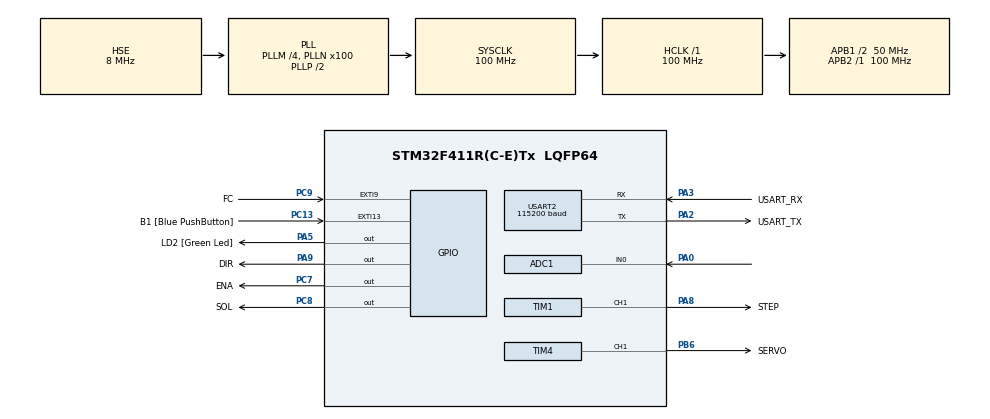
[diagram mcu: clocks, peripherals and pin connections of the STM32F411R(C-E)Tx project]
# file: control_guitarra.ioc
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ADC1.Channel-0\#ChannelRegularConversion=ADC_CHANNEL_0
ADC1.DMAContinuousRequests=ENABLE
ADC1.ExternalTrigConv=ADC_EXTERNALTRIGCONV_T3_TRGO
ADC1.NbrOfConversionFlag=1
ADC1.Rank-0\#ChannelRegularConversion=1
ADC1.SamplingTime-0\#ChannelRegularConversion=ADC_SAMPLETIME_3CYCLES
ADC1.master=1
Dma.ADC1.0.Direction=DMA_PERIPH_TO_MEMORY
Dma.ADC1.0.FIFOMode=DMA_FIFOMODE_DISABLE
Dma.ADC1.0.Instance=DMA2_Stream0
Dma.ADC1.0.MemDataAlignment=DMA_MDATAALIGN_HALFWORD
Dma.ADC1.0.MemInc=DMA_MINC_ENABLE
Dma.ADC1.0.Mode=DMA_CIRCULAR
Dma.ADC1.0.PeriphDataAlignment=DMA_PDATAALIGN_HALFWORD
Dma.ADC1.0.PeriphInc=DMA_PINC_DISABLE
Dma.ADC1.0.Priority=DMA_PRIORITY_LOW
Dma.Request0=ADC1
Dma.Request1=USART2_TX
Dma.USART2_TX.1.Direction=DMA_MEMORY_TO_PERIPH
Dma.USART2_TX.1.FIFOMode=DMA_FIFOMODE_DISABLE
Dma.USART2_TX.1.Instance=DMA1_Stream6
Dma.USART2_TX.1.MemDataAlignment=DMA_MDATAALIGN_BYTE
Dma.USART2_TX.1.MemInc=DMA_MINC_ENABLE
Dma.USART2_TX.1.Mode=DMA_NORMAL
Dma.USART2_TX.1.PeriphDataAlignment=DMA_PDATAALIGN_BYTE
Dma.USART2_TX.1.PeriphInc=DMA_PINC_DISABLE
Dma.USART2_TX.1.Priority=DMA_PRIORITY_LOW
Mcu.Family=STM32F4
Mcu.Name=STM32F411R(C-E)Tx
Mcu.Package=LQFP64
NVIC.ADC_IRQn=true\:0\:0\:false\:false\:true\:true\:true\:true
NVIC.DMA1_Stream6_IRQn=true\:0\:0\:false\:false\:true\:false\:true\:true
NVIC.DMA2_Stream0_IRQn=true\:0\:0\:false\:false\:true\:false\:true\:true
NVIC.EXTI15_10_IRQn=true\:0\:0\:false\:false\:true\:true\:true\:true
NVIC.EXTI9_5_IRQn=true\:0\:0\:false\:false\:true\:true\:true\:true
NVIC.PriorityGroup=NVIC_PRIORITYGROUP_0
NVIC.TIM1_BRK_TIM9_IRQn=true\:0\:0\:false\:false\:true\:true\:true\:true
NVIC.TIM1_UP_TIM10_IRQn=true\:0\:0\:false\:false\:true\:true\:true\:true
NVIC.TIM2_IRQn=true\:0\:0\:false\:false\:true\:true\:true\:true
NVIC.TIM5_IRQn=true\:0\:0\:false\:false\:true\:true\:true\:true
NVIC.USART2_IRQn=true\:0\:0\:false\:false\:true\:true\:true\:true
PA0-WKUP.Signal=ADCx_IN0
PA13.GPIO_Label=TMS
PA13.Mode=Serial_Wire
PA13.Signal=SYS_JTMS-SWDIO
PA14.GPIO_Label=TCK
PA14.Mode=Serial_Wire
PA14.Signal=SYS_JTCK-SWCLK
PA2.GPIO_Label=USART_TX
PA2.Mode=Asynchronous
PA2.Signal=USART2_TX
PA3.GPIO_Label=USART_RX
PA3.Mode=Asynchronous
PA3.Signal=USART2_RX
PA5.GPIO_Label=LD2 [Green Led]
PA5.Signal=GPIO_Output
PA8.GPIO_Label=STEP
PA8.Signal=S_TIM1_CH1
PA9.GPIO_Label=DIR
PA9.Signal=GPIO_Output
PB3.GPIO_Label=SWO
PB3.Signal=SYS_JTDO-SWO
PB6.GPIO_Label=SERVO
PB6.Signal=S_TIM4_CH1
PC13-ANTI_TAMP.GPIO_Label=B1 [Blue PushButton]
PC13-ANTI_TAMP.GPIO_ModeDefaultEXTI=GPIO_MODE_IT_FALLING
PC13-ANTI_TAMP.Signal=GPXTI13
PC14-OSC32_IN.Mode=LSE-External-Oscillator
PC14-OSC32_IN.Signal=RCC_OSC32_IN
PC15-OSC32_OUT.Mode=LSE-External-Oscillator
PC15-OSC32_OUT.Signal=RCC_OSC32_OUT
PC7.GPIO_Label=ENA
PC7.PinState=GPIO_PIN_SET
PC7.Signal=GPIO_Output
PC8.GPIO_Label=SOL
PC8.GPIO_ModeDefaultOutputPP=GPIO_MODE_OUTPUT_PP
PC8.GPIO_PuPd=GPIO_PULLDOWN
PC8.GPIO_Speed=GPIO_SPEED_FREQ_HIGH
PC8.PinState=GPIO_PIN_RESET
PC8.Signal=GPIO_Output
PC9.GPIO_Label=FC
PC9.GPIO_ModeDefaultEXTI=GPIO_MODE_IT_RISING_FALLING
PC9.GPIO_PuPd=GPIO_NOPULL
PC9.Signal=GPXTI9
PH0\ -\ OSC_IN.Mode=HSE-External-Oscillator
PH0\ -\ OSC_IN.Signal=RCC_OSC_IN
PH1\ -\ OSC_OUT.Mode=HSE-External-Oscillator
PH1\ -\ OSC_OUT.Signal=RCC_OSC_OUT
ProjectManager.HeapSize=0x200
ProjectManager.StackSize=0x400
ProjectManager.TargetToolchain=STM32CubeIDE
RCC.48MHZClocksFreq_Value=50000000
RCC.AHBFreq_Value=100000000
RCC.APB1CLKDivider=RCC_HCLK_DIV2
RCC.APB1Freq_Value=50000000
RCC.APB1TimFreq_Value=100000000
RCC.APB2Freq_Value=100000000
RCC.APB2TimFreq_Value=100000000
RCC.CortexFreq_Value=100000000
RCC.FLatency-AdvancedSettings=FLASH_LATENCY_3
RCC.HCLKFreq_Value=100000000
RCC.HSE_VALUE=8000000
RCC.HSI_VALUE=16000000
RCC.PLLM=4
RCC.PLLN=100
RCC.PLLSourceVirtual=RCC_PLLSOURCE_HSE
RCC.SYSCLKFreq_VALUE=100000000
RCC.SYSCLKSource=RCC_SYSCLKSOURCE_PLLCLK
RCC.VCOOutputFreq_Value=200000000
SH.ADCx_IN0.0=ADC1_IN0,IN0
SH.S_TIM1_CH1.0=TIM1_CH1,PWM Generation1 CH1
SH.S_TIM4_CH1.0=TIM4_CH1,PWM Generation1 CH1
TIM1.Channel-PWM\ Generation1\ CH1=TIM_CHANNEL_1
TIM1.Period=65285
TIM1.Prescaler=4
TIM1.Pulse-PWM\ Generation1\ CH1=32642
TIM2.Channel-Output\ Compare1\ No\ Output=TIM_CHANNEL_1
TIM3.TIM_MasterOutputTrigger=TIM_TRGO_UPDATE
TIM3.TIM_MasterSlaveMode=TIM_MASTERSLAVEMODE_ENABLE
TIM4.Channel-PWM\ Generation1\ CH1=TIM_CHANNEL_1
TIM4.Period=19999
TIM4.Prescaler=99
TIM4.Pulse-PWM\ Generation1\ CH1=1000
TIM5.Channel-Output\ Compare1\ No\ Output=TIM_CHANNEL_1
TIM5.Period=0xFFFFFFFF
TIM5.Prescaler=99
USART2.BaudRate=115200
USART2.VirtualMode=VM_ASYNC
VP_TIM1_VS_ClockSourceINT.Mode=Internal
VP_TIM2_VS_ClockSourceINT.Mode=Internal
VP_TIM2_VS_OPM.Mode=OPM_bit
VP_TIM2_VS_no_output1.Mode=Output Compare1 No Output
VP_TIM3_VS_ClockSourceINT.Mode=Internal
VP_TIM4_VS_ClockSourceINT.Mode=Internal
VP_TIM5_VS_ClockSourceINT.Mode=Internal
VP_TIM5_VS_no_output1.Mode=Output Compare1 No Output
board=NUCLEO-F411RE

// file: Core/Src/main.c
/* USER CODE BEGIN Header */
/**
 ******************************************************************************
 * @file           : main.c
 * @brief          : Main program body
 ******************************************************************************
 * @attention
 *
 * Copyright (c) 2025 STMicroelectronics.
 * All rights reserved.
 *
 * This software is licensed under terms that can be found in the LICENSE file
 * in the root directory of this software component.
 * If no LICENSE file comes with this software, it is provided AS-IS.
 *
 ******************************************************************************
 */
/* USER CODE END Header */
#include "main.h"
#include "stm32f4xx.h" // For NVIC_SystemReset

/* USER CODE BEGIN Includes */
#include <math.h>
#include <string.h>
#include <stdlib.h>
#define ARM_MATH_CM4
#include "arm_math.h"
/* USER CODE END Includes */

/* USER CODE BEGIN PTD */
#define MAX_FRETS_SEQUENCE_LENGTH 500

// Motor driver control signals
typedef struct {
	uint8_t dir;       // Direction signal (0 = one direction, 1 = opposite)
	uint8_t enable;    // Motor enable state (0 = disabled, 1 = enabled)
	uint16_t step;     // Remaining steps to move
} controller_instance;

// Current kinematic state of the system
typedef struct {
	float position;    // Current position [mm]
	float velocity;    // Current velocity [mm/s]
	float acceleration;// Current acceleration [mm/s²]
} kinematic_instance;

// Timer configuration values
typedef struct {
	uint16_t arr;      // Auto-Reload Register value
	uint16_t psc;      // Prescaler value
} TimerValues;

// Solenoid control and state
typedef struct {
	uint8_t press_type;               // Type of pressing action (1: soft, 2: hard)
	uint8_t release_type;             // Type of release action (1: soft, 2: hard)
	uint8_t state;                    // 0: Disabled, 1: Active
	uint32_t hold_ticks;              // Number of ticks to hold the solenoid
	uint32_t time_accumulator_ticks;  // Accumulated time in ticks
	uint32_t start_count;             // Tick count when action started
	float duty;                       // PWM duty cycle for solenoid
	uint16_t arr;                     // ARR value associated with PWM
} solenoid_t;

// Structure for representing a song sequence
typedef struct {
	uint16_t bpm;                             			// Beats per minute
	uint8_t subdivision;                      			// Subdivision per beat
	uint8_t frets_sequence[MAX_FRETS_SEQUENCE_LENGTH]; // Frets stored as integers
	uint16_t index;                           			// Next free position to write
} Song;

/* USER CODE END PTD */

/* USER CODE BEGIN PD */
// System clock frequency
#define F_CPU 100000000 // Hz

// Diameter of the pulley attached to the motor shaft
#define PULLEY_DIAMETER 13.3 // mm

// Number of motor steps per full revolution (without microstepping)
#define STEPS_PER_REVOLUTION 200 // steps

// Maximum linear velocity allowed
#define MAX_VELOCITY 550.0 // mm/s

// Maximum linear acceleration allowed
//#define MAX_ACCELERATION 5000.0 // mm/s²
#define MAX_ACCELERATION 7000.0 // mm/s²

// Maximum travel distance from the home position
#define MAX_POSITION 255.0 // mm

// Number of microsteps per full step
#define MICROSTEPS 32

// Number of motor steps per millimeter of linear movement
#define STEPS_PER_MM (STEPS_PER_REVOLUTION / (M_PI * PULLEY_DIAMETER))

// Total number of motor steps to reach maximum position
#define TOTAL_STEPS ((uint16_t)(MAX_POSITION * STEPS_PER_MM))

// Number of frets on the virtual guitar neck
#define NUM_FRETS 22

#define SAMPLING_FREQ_HZ 8000U
#define ADC_BUFFER_SIZE  8192

/* USER CODE END PD */

ADC_HandleTypeDef hadc1;
DMA_HandleTypeDef hdma_adc1;

TIM_HandleTypeDef htim1;
TIM_HandleTypeDef htim2;
TIM_HandleTypeDef htim3;
TIM_HandleTypeDef htim4;
TIM_HandleTypeDef htim5;

UART_HandleTypeDef huart2;
DMA_HandleTypeDef hdma_usart2_tx;

/* USER CODE BEGIN PV */
kinematic_instance kinematic = {0, 0, 0};    // Current kinematic state (position, velocity, acceleration)
controller_instance controller = {0, 0, 0};  // Motor control signals (dir, enable, steps)
solenoid_t solenoid = {0};                   // Solenoid control and state
Song current_song = {0};                     // Currently loaded song sequence
uint8_t micro_steps = 32;                    // Number of microsteps per full step
float homing_speed = MAX_VELOCITY * 0.5;      // Homing speed set to 50% of max velocity
volatile uint8_t solenoid_action_done_flag = 0; // Indicates if solenoid PWM action has completed

uint8_t status = 0; // System state machine
/*
   status = 0 -> Not calibrated
   status = 1 -> Motor enabled
   status = 2 -> Homing in progress
   status = 3 -> Position referenced (ready)
   status = 4 -> Moving to target position
 */

uint8_t playMode = 1; // Guitar neck mode
/*
   playMode = 0 -> String not tuned
   playMode = 1 -> Discrete guitar neck (virtual frets)
   playMode = 2 -> Continuous guitar neck (fretless)
 */
volatile uint8_t auto_mode = 0;
uint8_t servoAngle = 2; // Current servo angle
uint8_t posi =10;
// UART VARIABLES
// Receiving buffers
uint8_t temp[20];          // Temporary buffer for incoming bytes
uint8_t command[10000];    // Buffer for assembling user commands
int ind_Com = 0;            // Index for command buffer
volatile int target_position = 0; // Desired motor target position

// Variables for controlling song playback
uint16_t arr_array[TOTAL_STEPS];  // Precomputed ARR values for each step
uint16_t psc_array[TOTAL_STEPS];  // Precomputed PSC values for each step
float desired_velocity = 0;       // Velocity to reach during song playback

int note_time_passed = 1;   // Flag to track note duration timeout
int is_playing = 0;       // 1 if a song is being played
int is_tunning = 0;       // 1 if tuning mode is active

// Guitar-related measurements
float string_length = 440.0f;  // String total length [mm]
float fret_positions[NUM_FRETS] = {0}; // Calculated fret positions along the string

// --- Predefined songs ---
// Example songs (replace or add as needed)
Song predefined_songs[] = {
    // Happy Birthday
    {
        .bpm = 80,
        .subdivision = 2,
        .frets_sequence = {0, 0, 2, 0, 5, 4, 100,100, 0, 0, 2, 0, 7, 5, 100,100,0,0,12,9,5,4,2,100,100,10,10,9,5,7,5,100,100},
        .index = 32
    },
    // Smoke on the Water
    {
        .bpm = 100,
        .subdivision = 2,
        .frets_sequence = {0,100, 3,100, 5,100,100, 0,100, 3,100, 6, 5,100,100,0,100, 3,100, 5,100,100, 3,100,0,100,100},
        .index = 27
    },
    // Come As You Are
    {
        .bpm = 110,
        .subdivision = 2,
        .frets_sequence = {0, 0, 1, 2,100, 5, 2, 5, 2, 2, 1, 0, 7, 0, 0, 100,7,0,1,2,5,2,5,2,2,1,0,7,0,0,100},
        .index = 32
    },
    // TEST
    {
        .bpm = 90,
        .subdivision = 2,
        .frets_sequence = {1, 0, 1, 2, 3, 0,0,0,0, 1,0,0,0,0,0,5, 0, 1, 0, 7, 0, 1,0,100,100,0,7,0,100,0,1},
        .index = 31
    }
};
#define NUM_PREDEFINED_SONGS (sizeof(predefined_songs)/sizeof(predefined_songs[0]))

volatile uint32_t tim5_overflow_count = 0; // Counter for TIM5 overflows (for timing)

uint16_t adc_buffer[ADC_BUFFER_SIZE];
float32_t fft_input[ADC_BUFFER_SIZE / 2];
float32_t fft_output[ADC_BUFFER_SIZE / 2];
arm_rfft_fast_instance_f32 fft_instance;

float32_t frequency;

// Agregar variable global para control de envío de frecuencia
volatile uint8_t send_frequency = 0;

/* USER CODE END PV */

void SystemClock_Config(void);
static void MX_GPIO_Init(void);
static void MX_DMA_Init(void);
static void MX_USART2_UART_Init(void);
static void MX_TIM1_Init(void);
static void MX_TIM2_Init(void);
static void MX_TIM4_Init(void);
static void MX_TIM5_Init(void);
static void MX_ADC1_Init(void);
static void MX_TIM3_Init(void);
/* USER CODE BEGIN PFP */
float calculate_velocity(float frequency);
float get_timer1_frequency();
float get_current_velocity();
float calculate_required_frequency(float velocity);

float calculate_position(float steps);
float calculate_acceleration(float initial_velocity, float final_velocity, float time);
int find_next_real_fret(uint8_t* sequence, uint16_t length, uint16_t start_index);

TimerValues calculate_arr_psc(float velocity);
void calculate_steps_speed(float target_position, uint16_t* arr_array);
void calculate_fret_positions();
void toggle_solenoid();
void play_song();
void play_note();
void homing();
void chariot();
void start_move_to(float target_position_mm);
void tuning();
void interpret_command();
void set_servo_position(uint8_t angle);
void configure_timer1_for_velocity(float velocity);
void process_half_buffer(const uint16_t *src);
float32_t calculate_frequency(const float32_t *samples, uint32_t fft_size, float32_t sample_rate);

/* USER CODE END PFP */

int main(void)
{

  /* MCU Configuration--------------------------------------------------------*/

  /* Reset of all peripherals, Initializes the Flash interface and the Systick. */
  HAL_Init();

  /* Configure the system clock */
  SystemClock_Config();

  /* Initialize all configured peripherals */
  MX_GPIO_Init();
  MX_DMA_Init();
  MX_USART2_UART_Init();
  MX_TIM1_Init();
  MX_TIM2_Init();
  MX_TIM4_Init();
  MX_TIM5_Init();
  MX_ADC1_Init();
  MX_TIM3_Init();
  /* USER CODE BEGIN 2 */

	HAL_UART_Receive_IT(&huart2, temp, 1);
	HAL_TIM_PWM_Start(&htim4, TIM_CHANNEL_1);
	calculate_fret_positions();

	// habilitar el reloj del timer:
	__HAL_RCC_TIM3_CLK_ENABLE();
	// habilitar el reloj del ADC:
	__HAL_RCC_ADC1_CLK_ENABLE();
	// habilitar el reloj del DMA:
	__HAL_RCC_DMA2_CLK_ENABLE();

	HAL_ADC_Start_DMA(&hadc1, (uint32_t*)adc_buffer, ADC_BUFFER_SIZE);
  /* USER CODE END 2 */

  /* Infinite loop */
  /* USER CODE BEGIN WHILE */
	arm_rfft_fast_init_f32(&fft_instance, ADC_BUFFER_SIZE/2);

	while (1)
	{
		if (is_playing == 1){
			play_song();
		}
		if (is_tunning == 1) {
			tuning();
		}
		if (auto_mode) {
		    if (status == 3) {
		        chariot();
		        status = 4;
		    }
		}
    /* USER CODE END WHILE */

	}
}

void SystemClock_Config(void)
{
  RCC_OscInitTypeDef RCC_OscInitStruct = {0};
  RCC_ClkInitTypeDef RCC_ClkInitStruct = {0};

  /** Configure the main internal regulator output voltage
  */
  __HAL_RCC_PWR_CLK_ENABLE();
  __HAL_PWR_VOLTAGESCALING_CONFIG(PWR_REGULATOR_VOLTAGE_SCALE1);

  /** Initializes the RCC Oscillators according to the specified parameters
  * in the RCC_OscInitTypeDef structure.
  */
  RCC_OscInitStruct.OscillatorType = RCC_OSCILLATORTYPE_HSE;
  RCC_OscInitStruct.HSEState = RCC_HSE_ON;
  RCC_OscInitStruct.PLL.PLLState = RCC_PLL_ON;
  RCC_OscInitStruct.PLL.PLLSource = RCC_PLLSOURCE_HSE;
  RCC_OscInitStruct.PLL.PLLM = 4;
  RCC_OscInitStruct.PLL.PLLN = 100;
  RCC_OscInitStruct.PLL.PLLP = RCC_PLLP_DIV2;
  RCC_OscInitStruct.PLL.PLLQ = 4;
  if (HAL_RCC_OscConfig(&RCC_OscInitStruct) != HAL_OK)
  {
    Error_Handler();
  }

  /** Initializes the CPU, AHB and APB buses clocks
  */
  RCC_ClkInitStruct.ClockType = RCC_CLOCKTYPE_HCLK|RCC_CLOCKTYPE_SYSCLK
                              |RCC_CLOCKTYPE_PCLK1|RCC_CLOCKTYPE_PCLK2;
  RCC_ClkInitStruct.SYSCLKSource = RCC_SYSCLKSOURCE_PLLCLK;
  RCC_ClkInitStruct.AHBCLKDivider = RCC_SYSCLK_DIV1;
  RCC_ClkInitStruct.APB1CLKDivider = RCC_HCLK_DIV2;
  RCC_ClkInitStruct.APB2CLKDivider = RCC_HCLK_DIV1;

  if (HAL_RCC_ClockConfig(&RCC_ClkInitStruct, FLASH_LATENCY_3) != HAL_OK)
  {
    Error_Handler();
  }
}

static void MX_ADC1_Init(void)
{

  ADC_ChannelConfTypeDef sConfig = {0};

  /** Configure the global features of the ADC (Clock, Resolution, Data Alignment and number of conversion)
  */
  hadc1.Instance = ADC1;
  hadc1.Init.ClockPrescaler = ADC_CLOCK_SYNC_PCLK_DIV4;
  hadc1.Init.Resolution = ADC_RESOLUTION_12B;
  hadc1.Init.ScanConvMode = DISABLE;
  hadc1.Init.ContinuousConvMode = DISABLE;
  hadc1.Init.DiscontinuousConvMode = DISABLE;
  hadc1.Init.ExternalTrigConvEdge = ADC_EXTERNALTRIGCONVEDGE_RISING;
  hadc1.Init.ExternalTrigConv = ADC_EXTERNALTRIGCONV_T3_TRGO;
  hadc1.Init.DataAlign = ADC_DATAALIGN_RIGHT;
  hadc1.Init.NbrOfConversion = 1;
  hadc1.Init.DMAContinuousRequests = ENABLE;
  hadc1.Init.EOCSelection = ADC_EOC_SINGLE_CONV;
  if (HAL_ADC_Init(&hadc1) != HAL_OK)
  {
    Error_Handler();
  }

  /** Configure for the selected ADC regular channel its corresponding rank in the sequencer and its sample time.
  */
  sConfig.Channel = ADC_CHANNEL_0;
  sConfig.Rank = 1;
  sConfig.SamplingTime = ADC_SAMPLETIME_3CYCLES;
  if (HAL_ADC_ConfigChannel(&hadc1, &sConfig) != HAL_OK)
  {
    Error_Handler();
  }

}

static void MX_TIM1_Init(void)
{

  TIM_ClockConfigTypeDef sClockSourceConfig = {0};
  TIM_MasterConfigTypeDef sMasterConfig = {0};
  TIM_OC_InitTypeDef sConfigOC = {0};
  TIM_BreakDeadTimeConfigTypeDef sBreakDeadTimeConfig = {0};

  htim1.Instance = TIM1;
  htim1.Init.Prescaler = 4;
  htim1.Init.CounterMode = TIM_COUNTERMODE_UP;
  htim1.Init.Period = 65285;
  htim1.Init.ClockDivision = TIM_CLOCKDIVISION_DIV1;
  htim1.Init.RepetitionCounter = 0;
  htim1.Init.AutoReloadPreload = TIM_AUTORELOAD_PRELOAD_DISABLE;
  if (HAL_TIM_Base_Init(&htim1) != HAL_OK)
  {
    Error_Handler();
  }
  sClockSourceConfig.ClockSource = TIM_CLOCKSOURCE_INTERNAL;
  if (HAL_TIM_ConfigClockSource(&htim1, &sClockSourceConfig) != HAL_OK)
  {
    Error_Handler();
  }
  if (HAL_TIM_PWM_Init(&htim1) != HAL_OK)
  {
    Error_Handler();
  }
  sMasterConfig.MasterOutputTrigger = TIM_TRGO_RESET;
  sMasterConfig.MasterSlaveMode = TIM_MASTERSLAVEMODE_DISABLE;
  if (HAL_TIMEx_MasterConfigSynchronization(&htim1, &sMasterConfig) != HAL_OK)
  {
    Error_Handler();
  }
  sConfigOC.OCMode = TIM_OCMODE_PWM1;
  sConfigOC.Pulse = 32642;
  sConfigOC.OCPolarity = TIM_OCPOLARITY_HIGH;
  sConfigOC.OCNPolarity = TIM_OCNPOLARITY_HIGH;
  sConfigOC.OCFastMode = TIM_OCFAST_DISABLE;
  sConfigOC.OCIdleState = TIM_OCIDLESTATE_RESET;
  sConfigOC.OCNIdleState = TIM_OCNIDLESTATE_RESET;
  if (HAL_TIM_PWM_ConfigChannel(&htim1, &sConfigOC, TIM_CHANNEL_1) != HAL_OK)
  {
    Error_Handler();
  }
  sBreakDeadTimeConfig.OffStateRunMode = TIM_OSSR_DISABLE;
  sBreakDeadTimeConfig.OffStateIDLEMode = TIM_OSSI_DISABLE;
  sBreakDeadTimeConfig.LockLevel = TIM_LOCKLEVEL_OFF;
  sBreakDeadTimeConfig.DeadTime = 0;
  sBreakDeadTimeConfig.BreakState = TIM_BREAK_DISABLE;
  sBreakDeadTimeConfig.BreakPolarity = TIM_BREAKPOLARITY_HIGH;
  sBreakDeadTimeConfig.AutomaticOutput = TIM_AUTOMATICOUTPUT_DISABLE;
  if (HAL_TIMEx_ConfigBreakDeadTime(&htim1, &sBreakDeadTimeConfig) != HAL_OK)
  {
    Error_Handler();
  }
  /* USER CODE BEGIN TIM1_Init 2 */
	__HAL_TIM_ENABLE_IT(&htim1, TIM_IT_UPDATE);
  /* USER CODE END TIM1_Init 2 */
  HAL_TIM_MspPostInit(&htim1);

}

static void MX_TIM2_Init(void)
{

  TIM_ClockConfigTypeDef sClockSourceConfig = {0};
  TIM_MasterConfigTypeDef sMasterConfig = {0};
  TIM_OC_InitTypeDef sConfigOC = {0};

  htim2.Instance = TIM2;
  htim2.Init.Prescaler = 0;
  htim2.Init.CounterMode = TIM_COUNTERMODE_UP;
  htim2.Init.Period = 4294967295;
  htim2.Init.ClockDivision = TIM_CLOCKDIVISION_DIV1;
  htim2.Init.AutoReloadPreload = TIM_AUTORELOAD_PRELOAD_DISABLE;
  if (HAL_TIM_Base_Init(&htim2) != HAL_OK)
  {
    Error_Handler();
  }
  sClockSourceConfig.ClockSource = TIM_CLOCKSOURCE_INTERNAL;
  if (HAL_TIM_ConfigClockSource(&htim2, &sClockSourceConfig) != HAL_OK)
  {
    Error_Handler();
  }
  if (HAL_TIM_OC_Init(&htim2) != HAL_OK)
  {
    Error_Handler();
  }
  if (HAL_TIM_OnePulse_Init(&htim2, TIM_OPMODE_SINGLE) != HAL_OK)
  {
    Error_Handler();
  }
  sMasterConfig.MasterOutputTrigger = TIM_TRGO_RESET;
  sMasterConfig.MasterSlaveMode = TIM_MASTERSLAVEMODE_DISABLE;
  if (HAL_TIMEx_MasterConfigSynchronization(&htim2, &sMasterConfig) != HAL_OK)
  {
    Error_Handler();
  }
  sConfigOC.OCMode = TIM_OCMODE_TIMING;
  sConfigOC.Pulse = 0;
  sConfigOC.OCPolarity = TIM_OCPOLARITY_HIGH;
  sConfigOC.OCFastMode = TIM_OCFAST_DISABLE;
  if (HAL_TIM_OC_ConfigChannel(&htim2, &sConfigOC, TIM_CHANNEL_1) != HAL_OK)
  {
    Error_Handler();
  }

}

static void MX_TIM3_Init(void)
{

  TIM_ClockConfigTypeDef sClockSourceConfig = {0};
  TIM_MasterConfigTypeDef sMasterConfig = {0};

  htim3.Instance = TIM3;
  htim3.Init.Prescaler = 0;
  htim3.Init.CounterMode = TIM_COUNTERMODE_UP;
  htim3.Init.Period = 65535;
  htim3.Init.ClockDivision = TIM_CLOCKDIVISION_DIV1;
  htim3.Init.AutoReloadPreload = TIM_AUTORELOAD_PRELOAD_DISABLE;
  if (HAL_TIM_Base_Init(&htim3) != HAL_OK)
  {
    Error_Handler();
  }
  sClockSourceConfig.ClockSource = TIM_CLOCKSOURCE_INTERNAL;
  if (HAL_TIM_ConfigClockSource(&htim3, &sClockSourceConfig) != HAL_OK)
  {
    Error_Handler();
  }
  sMasterConfig.MasterOutputTrigger = TIM_TRGO_UPDATE;
  sMasterConfig.MasterSlaveMode = TIM_MASTERSLAVEMODE_ENABLE;
  if (HAL_TIMEx_MasterConfigSynchronization(&htim3, &sMasterConfig) != HAL_OK)
  {
    Error_Handler();
  }
  /* USER CODE BEGIN TIM3_Init 2 */
	uint32_t pclk1 = HAL_RCC_GetPCLK1Freq();
	// Si APB1 prescaler > 1, los timers de APB1 corren a doble frecuencia:
	if ((RCC->CFGR & RCC_CFGR_PPRE1) != RCC_CFGR_PPRE1_DIV1) {
		pclk1 *= 2;
	}

	// 'target' = total de ticks de timer por cada periodo de muestreo
	uint32_t target = pclk1 / SAMPLING_FREQ_HZ;

	// para que (ARR+1) <= 0xFFFF, despejamos PSC:
	uint32_t psc = (target - 1) / 0xFFFF;

	// ahora el valor real de ARR:
	uint32_t arr = (target / (psc + 1)) - 1;

	// cargar en registros:
	__HAL_TIM_SET_PRESCALER(&htim3, psc);
	__HAL_TIM_SET_AUTORELOAD(&htim3, arr);

	// habilitar el timer:
	HAL_TIM_Base_Start(&htim3);

  /* USER CODE END TIM3_Init 2 */

}

static void MX_TIM4_Init(void)
{

  TIM_ClockConfigTypeDef sClockSourceConfig = {0};
  TIM_MasterConfigTypeDef sMasterConfig = {0};
  TIM_OC_InitTypeDef sConfigOC = {0};

  htim4.Instance = TIM4;
  htim4.Init.Prescaler = 99;
  htim4.Init.CounterMode = TIM_COUNTERMODE_UP;
  htim4.Init.Period = 19999;
  htim4.Init.ClockDivision = TIM_CLOCKDIVISION_DIV1;
  htim4.Init.AutoReloadPreload = TIM_AUTORELOAD_PRELOAD_DISABLE;
  if (HAL_TIM_Base_Init(&htim4) != HAL_OK)
  {
    Error_Handler();
  }
  sClockSourceConfig.ClockSource = TIM_CLOCKSOURCE_INTERNAL;
  if (HAL_TIM_ConfigClockSource(&htim4, &sClockSourceConfig) != HAL_OK)
  {
    Error_Handler();
  }
  if (HAL_TIM_PWM_Init(&htim4) != HAL_OK)
  {
    Error_Handler();
  }
  sMasterConfig.MasterOutputTrigger = TIM_TRGO_RESET;
  sMasterConfig.MasterSlaveMode = TIM_MASTERSLAVEMODE_DISABLE;
  if (HAL_TIMEx_MasterConfigSynchronization(&htim4, &sMasterConfig) != HAL_OK)
  {
    Error_Handler();
  }
  sConfigOC.OCMode = TIM_OCMODE_PWM1;
  sConfigOC.Pulse = 1000;
  sConfigOC.OCPolarity = TIM_OCPOLARITY_HIGH;
  sConfigOC.OCFastMode = TIM_OCFAST_DISABLE;
  if (HAL_TIM_PWM_ConfigChannel(&htim4, &sConfigOC, TIM_CHANNEL_1) != HAL_OK)
  {
    Error_Handler();
  }
  HAL_TIM_MspPostInit(&htim4);

}

static void MX_TIM5_Init(void)
{

  TIM_ClockConfigTypeDef sClockSourceConfig = {0};
  TIM_MasterConfigTypeDef sMasterConfig = {0};
  TIM_OC_InitTypeDef sConfigOC = {0};

  htim5.Instance = TIM5;
  htim5.Init.Prescaler = 99;
  htim5.Init.CounterMode = TIM_COUNTERMODE_UP;
  htim5.Init.Period = 0xFFFFFFFF;
  htim5.Init.ClockDivision = TIM_CLOCKDIVISION_DIV1;
  htim5.Init.AutoReloadPreload = TIM_AUTORELOAD_PRELOAD_DISABLE;
  if (HAL_TIM_Base_Init(&htim5) != HAL_OK)
  {
    Error_Handler();
  }
  sClockSourceConfig.ClockSource = TIM_CLOCKSOURCE_INTERNAL;
  if (HAL_TIM_ConfigClockSource(&htim5, &sClockSourceConfig) != HAL_OK)
  {
    Error_Handler();
  }
  if (HAL_TIM_OC_Init(&htim5) != HAL_OK)
  {
    Error_Handler();
  }
  sMasterConfig.MasterOutputTrigger = TIM_TRGO_RESET;
  sMasterConfig.MasterSlaveMode = TIM_MASTERSLAVEMODE_DISABLE;
  if (HAL_TIMEx_MasterConfigSynchronization(&htim5, &sMasterConfig) != HAL_OK)
  {
    Error_Handler();
  }
  sConfigOC.OCMode = TIM_OCMODE_TIMING;
  sConfigOC.Pulse = 0;
  sConfigOC.OCPolarity = TIM_OCPOLARITY_HIGH;
  sConfigOC.OCFastMode = TIM_OCFAST_DISABLE;
  if (HAL_TIM_OC_ConfigChannel(&htim5, &sConfigOC, TIM_CHANNEL_1) != HAL_OK)
  {
    Error_Handler();
  }

}

static void MX_USART2_UART_Init(void)
{

  huart2.Instance = USART2;
  huart2.Init.BaudRate = 115200;
  huart2.Init.WordLength = UART_WORDLENGTH_8B;
  huart2.Init.StopBits = UART_STOPBITS_1;
  huart2.Init.Parity = UART_PARITY_NONE;
  huart2.Init.Mode = UART_MODE_TX_RX;
  huart2.Init.HwFlowCtl = UART_HWCONTROL_NONE;
  huart2.Init.OverSampling = UART_OVERSAMPLING_16;
  if (HAL_UART_Init(&huart2) != HAL_OK)
  {
    Error_Handler();
  }
  /* USER CODE BEGIN USART2_Init 2 */
	// habilitar DMA para TX:
	__HAL_LINKDMA(&huart2, hdmatx, hdma_usart2_tx);

  /* USER CODE END USART2_Init 2 */

}

static void MX_DMA_Init(void)
{

  /* DMA controller clock enable */
  __HAL_RCC_DMA2_CLK_ENABLE();
  __HAL_RCC_DMA1_CLK_ENABLE();

  /* DMA interrupt init */
  /* DMA1_Stream6_IRQn interrupt configuration */
  HAL_NVIC_SetPriority(DMA1_Stream6_IRQn, 0, 0);
  HAL_NVIC_EnableIRQ(DMA1_Stream6_IRQn);
  /* DMA2_Stream0_IRQn interrupt configuration */
  HAL_NVIC_SetPriority(DMA2_Stream0_IRQn, 0, 0);
  HAL_NVIC_EnableIRQ(DMA2_Stream0_IRQn);

}

static void MX_GPIO_Init(void)
{
  GPIO_InitTypeDef GPIO_InitStruct = {0};

  /* GPIO Ports Clock Enable */
  __HAL_RCC_GPIOC_CLK_ENABLE();
  __HAL_RCC_GPIOH_CLK_ENABLE();
  __HAL_RCC_GPIOA_CLK_ENABLE();
  __HAL_RCC_GPIOB_CLK_ENABLE();

  /*Configure GPIO pin Output Level */
  HAL_GPIO_WritePin(GPIOA, LD2_Pin|DIR_Pin, GPIO_PIN_RESET);

  /*Configure GPIO pin Output Level */
  HAL_GPIO_WritePin(ENA_GPIO_Port, ENA_Pin, GPIO_PIN_SET);

  /*Configure GPIO pin Output Level */
  HAL_GPIO_WritePin(SOL_GPIO_Port, SOL_Pin, GPIO_PIN_RESET);

  /*Configure GPIO pin : B1_Pin */
  GPIO_InitStruct.Pin = B1_Pin;
  GPIO_InitStruct.Mode = GPIO_MODE_IT_FALLING;
  GPIO_InitStruct.Pull = GPIO_NOPULL;
  HAL_GPIO_Init(B1_GPIO_Port, &GPIO_InitStruct);

  /*Configure GPIO pins : LD2_Pin DIR_Pin */
  GPIO_InitStruct.Pin = LD2_Pin|DIR_Pin;
  GPIO_InitStruct.Mode = GPIO_MODE_OUTPUT_PP;
  GPIO_InitStruct.Pull = GPIO_NOPULL;
  GPIO_InitStruct.Speed = GPIO_SPEED_FREQ_LOW;
  HAL_GPIO_Init(GPIOA, &GPIO_InitStruct);

  /*Configure GPIO pin : ENA_Pin */
  GPIO_InitStruct.Pin = ENA_Pin;
  GPIO_InitStruct.Mode = GPIO_MODE_OUTPUT_PP;
  GPIO_InitStruct.Pull = GPIO_NOPULL;
  GPIO_InitStruct.Speed = GPIO_SPEED_FREQ_LOW;
  HAL_GPIO_Init(ENA_GPIO_Port, &GPIO_InitStruct);

  /*Configure GPIO pin : SOL_Pin */
  GPIO_InitStruct.Pin = SOL_Pin;
  GPIO_InitStruct.Mode = GPIO_MODE_OUTPUT_PP;
  GPIO_InitStruct.Pull = GPIO_PULLDOWN;
  GPIO_InitStruct.Speed = GPIO_SPEED_FREQ_HIGH;
  HAL_GPIO_Init(SOL_GPIO_Port, &GPIO_InitStruct);

  /*Configure GPIO pin : FC_Pin */
  GPIO_InitStruct.Pin = FC_Pin;
  GPIO_InitStruct.Mode = GPIO_MODE_IT_RISING_FALLING;
  GPIO_InitStruct.Pull = GPIO_NOPULL;
  HAL_GPIO_Init(FC_GPIO_Port, &GPIO_InitStruct);

  /* EXTI interrupt init*/
  HAL_NVIC_SetPriority(EXTI9_5_IRQn, 0, 0);
  HAL_NVIC_EnableIRQ(EXTI9_5_IRQn);

  HAL_NVIC_SetPriority(EXTI15_10_IRQn, 0, 0);
  HAL_NVIC_EnableIRQ(EXTI15_10_IRQn);

}

/* USER CODE BEGIN 4 */

volatile float current_velocity = 0; // Latest calculated linear velocity [mm/s]

/**
 * @brief Calculate linear velocity based on the timer output frequency.
 * @param frequency Output frequency of the timer [Hz]
 * @return Calculated linear velocity [mm/s]
 */
float calculate_velocity(float frequency) {
	float circumference = M_PI * PULLEY_DIAMETER; // Pulley circumference [mm]
	float velocity = (frequency * circumference) / (STEPS_PER_REVOLUTION * MICROSTEPS); // Linear velocity
	current_velocity = velocity; // Update global velocity
	return velocity;
}

/**
 * @brief Get the actual output frequency of Timer 1.
 * @return Timer 1 output frequency [Hz]
 */
float get_timer1_frequency() {
	uint32_t timer_clock = HAL_RCC_GetPCLK2Freq(); // Retrieve the peripheral clock frequency for Timer 1
	uint32_t prescaler = htim1.Init.Prescaler + 1; // Effective prescaler value
	uint32_t period = htim1.Init.Period + 1;       // Effective ARR value
	float frequency = (float)timer_clock / (prescaler * period);
	return frequency;
}

/**
 * @brief Get the current linear velocity of the system.
 * @return Current linear velocity [mm/s]
 */
float get_current_velocity() {
	float frequency = get_timer1_frequency(); // Measure current timer frequency
	return calculate_velocity(frequency);     // Convert to linear velocity
}

/**
 * @brief Calculate ARR and PSC values for a given linear velocity.
 * @param velocity Desired linear velocity [mm/s]
 * @return TimerValues structure with ARR and PSC values
 */
TimerValues calculate_arr_psc(float velocity) {
	float radius = PULLEY_DIAMETER / 2.0;                          // Radius of pulley [mm]
	float angular_velocity = velocity / radius;                   // Angular velocity [rad/s]
	float frequency = (angular_velocity * STEPS_PER_REVOLUTION) / (2 * M_PI); // Motor step frequency [steps/s]

	uint32_t tentative_arr = (uint32_t)(F_CPU / frequency) - 1;    // Initial ARR value
	uint16_t psc = 0;                                              // Initial prescaler

	// Adjust prescaler if ARR exceeds 16-bit timer limit
	if (tentative_arr > 0xFFFF) {
		psc = (tentative_arr / 0xFFFF) + 1;
		tentative_arr = (uint32_t)(F_CPU / ((psc + 1) * frequency)) - 1;
	}

	TimerValues values;
	values.arr = (uint16_t)tentative_arr;
	values.psc = psc;
	return values;
}

/**
 * @brief Set the desired linear velocity and configure system tick.
 * @param velocity Desired linear velocity [mm/s]
 */
void set_velocity(float velocity) {
	if (velocity < 0 || velocity > MAX_VELOCITY) {
		// Ignore invalid velocity values
		return;
	}

	desired_velocity = velocity; // Update desired velocity

	// Configure SysTick timer to trigger every 1 ms
	HAL_SYSTICK_Config(HAL_RCC_GetHCLKFreq() / 1000);
}

/**
 * @brief Configure Timer 1 to generate PWM corresponding to the desired velocity.
 * @param velocity Desired linear velocity [mm/s]
 */
void configure_timer1_for_velocity(float velocity) {
	if (velocity < 0 || velocity > MAX_VELOCITY) {
		// Ignore invalid velocity values
		return;
	}

	TimerValues values = calculate_arr_psc(velocity);

	// Update Timer 1 settings
	htim1.Init.Prescaler = values.psc;
	htim1.Init.Period = values.arr;
	htim1.Instance->CCR1 = values.arr / 2; // Set 50% duty cycle

	// Reinitialize Timer 1
	if (HAL_TIM_Base_Init(&htim1) != HAL_OK) {
		Error_Handler();
	}

	// Start Timer 1
	if (HAL_TIM_Base_Start(&htim1) != HAL_OK) {
		Error_Handler();
	}
}

/**
 * @brief Calculate linear position [mm] from number of motor steps.
 * @param steps Number of motor steps
 * @return Position in millimeters
 */
float calculate_position(float steps) {
	float circumference = M_PI * PULLEY_DIAMETER; // Pulley circumference [mm]
	float position = (steps * circumference) / STEPS_PER_REVOLUTION;
	return position;
}

/**
 * @brief Calculate linear acceleration given initial and final velocities over time.
 * @param initial_velocity Initial velocity [mm/s]
 * @param final_velocity Final velocity [mm/s]
 * @param time Time interval [s]
 * @return Acceleration [mm/s²]
 */
float calculate_acceleration(float initial_velocity, float final_velocity, float time) {
	float acceleration = (final_velocity - initial_velocity) / time;
	return acceleration;
}

/**
 * @brief Precompute timer ARR and PSC values to perform a motion to a target position
 *        with a trapezoidal velocity profile.
 * @param target_position1 Target position in millimeters
 * @param arr_array Output array to store ARR values step by step
 */
void calculate_steps_speed(float target_position1, uint16_t* arr_array) {
	if (target_position1 < 0 || target_position1 > MAX_POSITION) {
		return; // Ignore invalid target positions
	}
	target_position = target_position1;
	float distance;

	// Determine movement direction and set motor DIR pin
	if (kinematic.position < target_position) {
		distance = target_position - kinematic.position;
		controller.dir = 1; // Forward
		HAL_GPIO_WritePin(DIR_GPIO_Port, DIR_Pin, GPIO_PIN_SET);
	} else {
		distance = kinematic.position - target_position;
		controller.dir = 0; // Reverse
		HAL_GPIO_WritePin(DIR_GPIO_Port, DIR_Pin, GPIO_PIN_RESET);
	}

	float steps_per_mm = STEPS_PER_MM;
	uint16_t total_steps = (uint16_t)(distance * steps_per_mm);

	// Save total steps to move
	controller.step = total_steps;

	// Compute time and distance to accelerate to max speed
	float acceleration_time = (float)MAX_VELOCITY / (float)MAX_ACCELERATION;
	float acceleration_distance = 0.5f * (float)MAX_ACCELERATION * powf(acceleration_time, 2);

	// Calculate cruising distance (distance traveled at max speed)
	float cruise_distance = distance - 2 * acceleration_distance;
	if (cruise_distance < 0) {
		// No cruising phase, triangular profile (only acceleration and deceleration)
		acceleration_distance = distance / 2;
		cruise_distance = 0;
	}

	float cruise_time = cruise_distance / MAX_VELOCITY;

	// Calculate total motion time
	float total_time = 2 * acceleration_time + cruise_time;

	// Reset kinematic state
	kinematic.velocity = 0;
	kinematic.acceleration = MAX_ACCELERATION;

	// Precompute timer values for each step
	for (uint16_t step = 0; step < total_steps; step++) {
		float t = (float)step / (float)total_steps * total_time;

		if (t < acceleration_time) {
			// Acceleration phase
			kinematic.velocity = (float)MAX_ACCELERATION * t;
		} else if (t < acceleration_time + cruise_time) {
			// Constant velocity phase
			kinematic.velocity = MAX_VELOCITY;
		} else {
			// Deceleration phase
			kinematic.velocity = MAX_VELOCITY - MAX_ACCELERATION * (t - acceleration_time - cruise_time);
		}

		// Calculate ARR/PSC values for the current velocity
		TimerValues values = calculate_arr_psc(kinematic.velocity * MICROSTEPS);
		arr_array[step] = values.arr;
		psc_array[step] = values.psc;
	}

	// Configure timer for the first step immediately
	TIM1->ARR = arr_array[0];
	TIM1->PSC = psc_array[0];
	TIM1->CCR1 = arr_array[0] / 2; // 50% duty cycle
}

/**
 * @brief Toggle the solenoid state (ON/OFF).
 *        If the solenoid is off, it turns it on; if it's on, it turns it off.
 */
void toggle_solenoid() {
	if (solenoid.state == 0) {
		// Solenoid is off, turn it on
		HAL_GPIO_WritePin(SOL_GPIO_Port, SOL_Pin, GPIO_PIN_SET);
		solenoid.state = 1;
	} else {
		// Solenoid is on, turn it off
		HAL_GPIO_WritePin(SOL_GPIO_Port, SOL_Pin, GPIO_PIN_RESET);
		solenoid.state = 0;
	}
}

/**
 * @brief Calculate fret positions based on the string length and musical scale.
 *        Positions are adjusted by a mechanical offset based on the cart size.
 */
void calculate_fret_positions() {
	float offset = 17.2f; // Offset corresponding to half the solenoid carriage length [mm]

	for (int i = 0; i < (sizeof(fret_positions) / sizeof(fret_positions[0])); i++) {
		// Calculate raw position for each fret based on 12-TET (Twelve-tone equal temperament)
		float raw_position = string_length * (1.0f - 1.0f / powf(2.0f, i / 12.0f));

		// Apply mechanical offset
		fret_positions[i] = raw_position - offset;

		// Clamp position to 0 if it becomes negative
		if (fret_positions[i] < 0.0f) {
			fret_positions[i] = 0.0f;
		}
	}
}

// UART FUNCTIONS

/**
 * @brief Transmit a null-terminated string over UART2.
 * @param str Pointer to the string to transmit
 */
void send_string(char *str)
{
	int len = strlen(str); // Calculate the length of the string
	HAL_UART_Transmit_DMA(&huart2, (uint8_t*)str, len);
}

/**
 * @brief UART receive complete interrupt callback.
 *        Handles command parsing from user input.
 */
void HAL_UART_RxCpltCallback(UART_HandleTypeDef *huart) {
	if (huart->Instance == USART2) {
		char received_char = temp[0]; // Capture the received character

		// Handle special characters
		if (received_char == ':') {
			// Start of a new command: clear the command buffer
			ind_Com = 0;
			memset(command, 0, sizeof(command));
		}
		else if (received_char == 0x08 || received_char == 0x7F) {
			// Backspace or delete: remove last character from buffer
			if (ind_Com > 0) {
				ind_Com--;
				command[ind_Com] = '\0';
			}
		}
		else if (received_char == '\n' || received_char == '\r') {
			// Enter key pressed: finalize and process the command
			if (ind_Com > 0) {  // Solo procesar si hay caracteres en el buffer
				command[ind_Com] = '\0';  // Asegurar que el comando termine en null
				interpret_command(); // Interpret and execute the received command
				ind_Com = 0;
				memset(command, 0, sizeof(command));
			}
		}
		else if (ind_Com < sizeof(command) - 1) {
			// Regular printable character: store it
			command[ind_Com++] = received_char;
		}

		// Reactivate UART reception for next character
		HAL_UART_Receive_IT(&huart2, temp, 1);
	}
}

/**
 * @brief Timer period elapsed callback.
 *        Handles actions depending on which timer triggered the interrupt.
 */
void HAL_TIM_PeriodElapsedCallback(TIM_HandleTypeDef *htim) {
	static uint8_t accumulator = 0; // Accumulator for microstepping

	if (htim->Instance == TIM1) {
		// Timer 1: Motor motion control
		switch (status) {
		case 2: // Homing operation in progress
			// No action needed, waiting for external event (limit switch)
			break;

		case 4: // Normal movement to a target position
			if (controller.step > 0) {
				// Decrement step counter only after completing a microstep batch
				if (accumulator++ >= MICROSTEPS) {
					accumulator = 0;
					controller.step--;

					// Update timer parameters for new velocity
					TIM1->ARR = arr_array[controller.step];
					TIM1->PSC = psc_array[controller.step];
					TIM1->CCR1 = arr_array[controller.step] / 2; // 50% duty cycle
				}
			} else {
				// All steps completed: stop PWM and update system status
				HAL_TIM_PWM_Stop(&htim1, TIM_CHANNEL_1);
				status = 3; // Now "position referenced"

				// If motor is still enabled, update kinematic position
				if (HAL_GPIO_ReadPin(ENA_GPIO_Port, ENA_Pin) == GPIO_PIN_RESET) {
					kinematic.position = target_position;
				}
			}
			break;

		default:
			break;
		}
	}

	else if (htim->Instance == TIM2) {
		// Timer 2: Used to track note duration during song playback
		note_time_passed = 1;
		HAL_TIM_Base_Stop_IT(&htim2); // Stop the timer after timeout
	}

	else if (htim->Instance == TIM5) {
		// Timer 5: Overflow counter for high precision delays
		tim5_overflow_count++;
	}
}

/**
 * @brief External interrupt callback.
 *        Handles actions when the limit switch (endstop) is triggered.
 * @param GPIO_Pin Pin number that triggered the interrupt
 */
void HAL_GPIO_EXTI_Callback(uint16_t GPIO_Pin)
{
	if (GPIO_Pin == FC_Pin) { // Check if the interrupt was generated by the limit switch
		switch (status) {
		case 2: // Homing in progress
			// Stop motor PWM to halt movement
			HAL_TIM_PWM_Stop(&htim1, TIM_CHANNEL_1);

			// Confirm that the limit switch is indeed activated (debounce check)
			if (HAL_GPIO_ReadPin(FC_GPIO_Port, FC_Pin) == GPIO_PIN_SET) {
				// Homing successful, update system status
				send_string(":HR\r\n"); // Send homing result message")
				status = 3; // Position referenced and ready
			} else {
				// False trigger or incomplete homing: continue moving slowly toward switch
				kinematic.position = 0; // Set reference position to 0 mm
				configure_timer1_for_velocity(homing_speed / 2); // Reduce speed

				// Change motor direction toward the limit switch
				HAL_GPIO_WritePin(DIR_GPIO_Port, DIR_Pin, GPIO_PIN_SET);

				// Restart PWM indefinitely to continue homing
				HAL_TIM_PWM_Start(&htim1, TIM_CHANNEL_1);
			}
			break;

		case 4: // Movement in progress
			// Emergency stop: movement interrupted by limit switch
			HAL_TIM_PWM_Stop(&htim1, TIM_CHANNEL_1);
			status = 0; // Set system status to "not calibrated"
			break;

		default:
			// No action for other statuses
			break;
		}
	}
}

void HAL_ADC_ConvHalfCpltCallback(ADC_HandleTypeDef* hadc) {
	if (send_frequency) {
		process_half_buffer(&adc_buffer[0]);
		if (frequency > 0 && frequency <= 2400.0f) {
			char buffer[32];
			int len = sprintf(buffer, ":F%.2f\r\n", frequency);
			HAL_UART_Transmit_DMA(&huart2, (uint8_t*)buffer, len);
		}
	}
}

void HAL_ADC_ConvCpltCallback(ADC_HandleTypeDef* hadc) {
	if (send_frequency) {
		process_half_buffer(&adc_buffer[ADC_BUFFER_SIZE / 2]);
		if (frequency > 0 && frequency <= 2400.0f) {
			char buffer[32];
			int len = sprintf(buffer, ":F%.2f\r\n", frequency);
			HAL_UART_Transmit_DMA(&huart2, (uint8_t*)buffer, len);
		}
	}
}

/**
 * @brief Initiate the homing procedure.
 *        Moves the mechanism toward the limit switch at homing speed.
 */
void homing() {
	// Set motor speed for homing
	configure_timer1_for_velocity(homing_speed);

	// Move toward the limit switch
	HAL_GPIO_WritePin(DIR_GPIO_Port, DIR_Pin, GPIO_PIN_RESET);

	// Start PWM indefinitely; movement will be stopped by external interrupt
	HAL_TIM_PWM_Start(&htim1, TIM_CHANNEL_1);
}

void chariot() {

	 if (posi == 10) {

		 posi = 90;
		} else {

				posi = 10;
		}

	 calculate_steps_speed(posi, arr_array);
	 HAL_TIM_PWM_Start(&htim1, TIM_CHANNEL_1);
	 play_note();
}

void start_move_to(float target_position_mm) {

    calculate_steps_speed(target_position_mm, arr_array);

    HAL_TIM_PWM_Start(&htim1, TIM_CHANNEL_1);

    status = 4; // "Moving to target position"

}
/**
 * @brief Find the next real fret in a sequence (skip pauses and special codes).
 * @param sequence Pointer to the fret sequence array
 * @param length Total number of elements in the sequence
 * @param start_index Index from which to start searching
 * @return Index of the next real fret, or -1 if none found
 */
int find_next_real_fret(uint8_t* sequence, uint16_t length, uint16_t start_index) {
	for (uint16_t i = start_index; i < length; i++) {
		if (sequence[i] > 0 && sequence[i] < 100) {
			return i;
		}
	}
	return -1;
}

/**
 * @brief Set the servo to a specific angle.
 * @param angle Target angle [0°–180°]
 */
void set_servo_position(uint8_t angle) {
	if (angle > 180) angle = 180; // Clamp maximum angle

	uint16_t pulse = 500 + ((angle * 2500) / 180); // Map angle to pulse width in microseconds
	uint16_t ccr_value = (pulse * 19999) / 20000;  // Map pulse width to CCR1 value

	TIM4->CCR1 = ccr_value; // Update PWM duty cycle to move servo
}

/**
 * @brief Wait for a specified time in microseconds using TIM5.
 * @param delay_us Desired delay in microseconds
 */
void wait_using_tim5_us(uint32_t delay_us) {
	uint32_t ticks_per_us = (F_CPU / (htim5.Init.Prescaler + 1)) / 1000000;
	uint64_t target_ticks = (uint64_t)delay_us * ticks_per_us;

	// --- Reset counters and flags ---
	tim5_overflow_count = 0;
	__HAL_TIM_CLEAR_FLAG(&htim5, TIM_FLAG_UPDATE);
	__HAL_TIM_SET_COUNTER(&htim5, 0);
	__HAL_TIM_ENABLE_IT(&htim5, TIM_IT_UPDATE);

	HAL_TIM_Base_Start(&htim5);

	uint64_t ticks_total = 0;

	// Busy-wait until the desired number of ticks have passed
	while (ticks_total < target_ticks) {
		uint32_t current_count = __HAL_TIM_GET_COUNTER(&htim5);
		ticks_total = ((uint64_t)tim5_overflow_count * (uint64_t)(htim5.Init.Period + 1)) + current_count;
	}

	HAL_TIM_Base_Stop(&htim5);
	__HAL_TIM_DISABLE_IT(&htim5, TIM_IT_UPDATE);
}

float32_t calculate_frequency(const float32_t *samples, uint32_t fft_size, float32_t sample_rate) {
	static float32_t max_value;
	static uint32_t max_index;

	// 1. Remover offset DC
	float32_t mean;
	arm_mean_f32(samples, fft_size, &mean);
	for(uint32_t i = 0; i < fft_size; i++) {
		fft_input[i] = samples[i] - mean;
	}

	// 2. Calcular FFT
	arm_rfft_fast_f32(&fft_instance, fft_input, fft_output, 0);

	// 3. Calcular magnitudes para primera mitad del espectro
	for(uint32_t i = 0; i < fft_size/2; i++) {
		float32_t real = fft_output[2*i];
		float32_t imag = fft_output[2*i+1];
		fft_input[i] = sqrtf(real*real + imag*imag); // Reutilizamos fft_input para magnitudes
	}

	// 4. Encontrar máximo ignorando DC (primer bin)
	arm_max_f32(&fft_input[1], (fft_size/2)-1, &max_value, &max_index);
	max_index++; // Compensar por haber ignorado el primer bin

	// 5. Calcular frecuencia
	return (float32_t)max_index * sample_rate / (float32_t)fft_size;
}

void process_half_buffer(const uint16_t *src) {
	// Convertir a float y centrar alrededor de 0
	for(uint32_t i = 0; i < ADC_BUFFER_SIZE/2; i++) {
		fft_input[i] = (float32_t)src[i] - 2048.0f;  // Asumiendo ADC de 12 bits
	}

	frequency = calculate_frequency(fft_input, ADC_BUFFER_SIZE/2, SAMPLING_FREQ_HZ);
}

/**
 * @brief Tuning mode function.
 *        Repeatedly triggers the servo to play a note at fixed intervals.
 */
void tuning() {
	play_note();                          // Simulate picking a note with the servo
	wait_using_tim5_us(1000000);          // Wait for 1 second (1,000,000 microseconds)
}

/**
 * @brief Simulates a pluck by toggling the servo between two angles.
 *        This creates a repetitive picking motion.
 */
void play_note() {
	// Alternate between two predefined angles to simulate a pluck
	if (servoAngle == 2) {
		servoAngle = 18;
	} else {
		servoAngle = 2;
	}

	// Move the servo to the updated angle
	set_servo_position(servoAngle);
}

/**
 * @brief Plays the currently loaded song by interpreting fret codes,
 *        controlling motor positioning, solenoid activation, and servo picking.
 */
void play_song() {
	int current_fret = -1; // Last fret played
	int i = 0;             // Current index in fret sequence
	uint8_t solenoid_is_active = 0;

	int is_moving = 0;
	int target_fret = -1;

	while (i < current_song.index) {
		uint8_t code = current_song.frets_sequence[i];

		// Validate code
		if (!(code <= 99 || code == 100 || code == 101)) {
			send_string(":X1\r\n"); // Error de valor inválido
			i++;
			continue;
		}

		// --- Anticipated positioning for non-real notes (rests or holds) ---
		if (!is_moving && (code == 0 || code == 100 || code == 101)) {
			int next_index = find_next_real_fret(current_song.frets_sequence, current_song.index, i + 1);
			if (next_index != -1) {
				target_fret = current_song.frets_sequence[next_index];
				if (target_fret > 0 && target_fret < NUM_FRETS && target_fret != current_fret) {
					float pos = fret_positions[target_fret];
					calculate_steps_speed(pos, arr_array);
					HAL_TIM_PWM_Start(&htim1, TIM_CHANNEL_1);
					status = 4;
					is_moving = 1;
				}
			}
		}

		// --- Handle special codes: 0 (pluck), 100 (hold), 101 (pause) ---
		if (code == 0 || code == 100 || code == 101) {
			if (solenoid_is_active) {
				toggle_solenoid();
				solenoid_is_active = 0;
				wait_using_tim5_us(5000); // release delay
			}

			if (code == 0) {
				play_note();                 // pluck the string
				wait_using_tim5_us(40000);   // delay after pluck
			}

			// Wait for the note duration
			note_time_passed = 0;
			__HAL_TIM_SET_COUNTER(&htim2, 0);
			HAL_TIM_Base_Start_IT(&htim2);
			while (!note_time_passed);

			i++;
			continue;
		}

		// --- Handle real note ---
		int fret = code;

		// Wait for movement to finish, if any
		if (status == 4) {
			while (status == 4);
			is_moving = 0;
			if (target_fret >= 0 && target_fret == fret) {
				current_fret = target_fret;
			}
		}

		// Move to the correct fret if not already there
		if (fret != current_fret) {
			if (fret >= NUM_FRETS) {
				send_string(":X2\r\n"); // Error de traste fuera de rango
				i++;
				continue;
			}

			float pos = fret_positions[fret];
			calculate_steps_speed(pos, arr_array);
			HAL_TIM_PWM_Start(&htim1, TIM_CHANNEL_1);
			status = 4;
			while (status == 4);
			current_fret = fret;
			is_moving = 0;
		}

		// Count repeated notes or holds for this fret
		int press_count = 1;
		int j = i + 1;
		while (j < current_song.index) {
			uint8_t next = current_song.frets_sequence[j];
			if (next == 100 || next == fret) {
				press_count++;
				j++;
			} else break;
		}

		// Press the fret with solenoid if not already active
		if (!solenoid_is_active) {
			toggle_solenoid();
			solenoid_is_active = 1;
		}

		wait_using_tim5_us(8000);  // press descent delay
		play_note();               // simulate picking
		wait_using_tim5_us(16000); // delay after pluck

		// Wait for the note to finish
		note_time_passed = 0;
		__HAL_TIM_SET_COUNTER(&htim2, 0);
		HAL_TIM_Base_Start_IT(&htim2);
		while (!note_time_passed);

		// Release the solenoid after the note
		if (solenoid_is_active) {
			toggle_solenoid();
			solenoid_is_active = 0;
		}

		i++;
	}

	// Ensure solenoid is off at the end
	if (solenoid_is_active) {
		toggle_solenoid();
	}
	send_string(":GR\r\n"); // Canción terminada
	is_playing = 0;
	status = 3;
}

/**
 * @brief Interprets and executes the command stored in the 'command' buffer.
 *        Commands are sent via UART in text form and start with a character identifier.
 */
void interpret_command()
{
	int cmd;
	switch (command[0]) {
	char confirm[64];

	case 'f':  // Set motor velocity. Format: :fXXX
		cmd = atoi((char *)&command[1]);
		set_velocity(cmd);
		break;

	case 'H':  // Start homing if status allows it
		switch (status) {
		case 1: // Motor enabled but not homed
			status = 2;
			homing();
			break;
		default:
			// Ignore if in invalid state for homing
			break;
		}
		break;

	case 'P':  // Move to absolute position. Format: :PXXX
		if (status == 3) {
			cmd = atoi((char *)&command[1]);
			calculate_steps_speed(cmd, arr_array);
			HAL_TIM_PWM_Start(&htim1, TIM_CHANNEL_1);
			status = 4;
		}
		break;

	case 'E':  // Enable or disable motor. Format: :E1 to enable, :E0 to disable
		cmd = atoi((char *)&command[1]);
		if (status == 0 && cmd != 0) {
			// Enable motor
			HAL_GPIO_WritePin(ENA_GPIO_Port, ENA_Pin, GPIO_PIN_RESET);
			status = 1;
			controller.enable = 1;
			send_string(":EN\r\n"); // Enabled motor
		} else if (cmd == 0) {
			// Disable motor and reset reference
			HAL_GPIO_WritePin(ENA_GPIO_Port, ENA_Pin, GPIO_PIN_SET);
			status = 0;
			controller.enable = 0;
			send_string(":ED\r\n"); // Disabled motor
		}
		break;
	case 'I':
			send_string(":I\r\n");
		    if (status == 3){   // permet le mouvement
			chariot();
		    status = 4;   // mouvement en cours
			}
			break;

	case 'J':
	    send_string(":J\r\n");
	    auto_mode = 1;   // Démarre le mouvement continu
	    break;

	case 'K':
	    send_string(":K\r\n");
	    auto_mode = 0;   // Arrête le mouvement
	    break;
	case 'S':  // Toggle solenoid state
		toggle_solenoid();
		break;

	case 'V':  // Move servo to specified angle. Format: :VXXX
		cmd = atoi((char *)&command[1]);
		set_servo_position(cmd);
		break;

	case 'N':  // Play a single note using the servo
		play_note();
		send_string(":N\r\n");
		break;

	case 'B':  // Set BPM and subdivision. Format: :B120_4
		if (strlen((char *)command) < 6 || command[4] != '_') {
			send_string(":X3\r\n"); // Error de formato BPM
			break;
		}
		int bpm = atoi((char *)&command[1]);
		int subdiv = atoi((char *)&command[5]);

		if (bpm <= 0 || bpm > 300 || subdiv <= 0 || subdiv > 16) {
			send_string(":X4\r\n"); // Error de valores BPM
			break;
		}

		current_song.bpm = bpm;
		current_song.subdivision = subdiv;

		// Configure TIM2 for note duration
		uint32_t note_duration_ms = 60000 / (bpm * subdiv);
		uint32_t tick_freq = 1000000; // Timer counts in microseconds
		uint32_t prescaler = F_CPU / tick_freq - 1;
		uint32_t arr_value = note_duration_ms * 1000;

		htim2.Init.Prescaler = prescaler;
		htim2.Init.Period = arr_value;
		htim2.Init.CounterMode = TIM_COUNTERMODE_UP;
		htim2.Init.ClockDivision = TIM_CLOCKDIVISION_DIV1;
		htim2.Init.AutoReloadPreload = TIM_AUTORELOAD_PRELOAD_DISABLE;
		HAL_TIM_Base_Init(&htim2);
		HAL_TIM_OC_Init(&htim2);
		HAL_TIM_OnePulse_Init(&htim2, TIM_OPMODE_SINGLE);
		__HAL_TIM_CLEAR_IT(&htim2, TIM_IT_UPDATE);
		__HAL_TIM_ENABLE_IT(&htim2, TIM_IT_UPDATE);
		break;

	case 'A':  // Toggle tuning mode (looping play_note)
		is_tunning = !is_tunning;
		if (is_tunning) {
			send_frequency = 1;
			send_string(":A\r\n");
		} else {
			send_frequency = 0;
			send_string(":AR\r\n");
			if (solenoid.state == 1) {
				toggle_solenoid(); // Ensure solenoid is released
			}
		}
		break;

	case 'T':  // Add fret to sequence. Format: :Txx, :T-- or :T**
		if (strlen((char *)command) < 3) {
			send_string(":X5\r\n"); // Error de formato T
			break;
		}

		if (current_song.index >= MAX_FRETS_SEQUENCE_LENGTH) {
			send_string(":X6\r\n"); // Error secuencia llena
			break;
		}

		char c1 = command[1];
		char c2 = command[2];
		uint8_t value;

		if (c1 == '*' && c2 == '*') {
			value = 100; // Hold
		} else if (c1 == '-' && c2 == '-') {
			value = 101; // Pause
		} else if (isdigit(c1) && isdigit(c2)) {
			value = (c1 - '0') * 10 + (c2 - '0');
		} else {
			send_string(":X7\r\n"); // Error combinación
			break;
		}

		current_song.frets_sequence[current_song.index++] = value;
		send_string(":T\r\n"); // Traste agregado
		break;

	case 'G':  // Start song playback
		if (status != 3) {
			send_string(":X8\r\n"); // Error homing
			break;
		}
		if (current_song.index == 0) {
			send_string(":X9\r\n"); // Error no song
			break;
		}
		if (current_song.bpm == 0) {
			send_string(":X10\r\n"); // Error no bpm
			break;
		}
		is_playing = 1;
		send_string(":G\r\n"); // Canción iniciada
		break;

	case 'C':
		/*
		 * @brief Load a predefined song by index.
		 *        Command format: :C<n> where n is the song number (0-based).
		 *        This will clear the current_song struct and load the selected song.
		 */
		if (status != 3) {
			send_string(":X11\r\n"); // Error: must home before loading song
			break;
		}
		int song_idx = 0;
		if (strlen((char*)command) > 1 && isdigit(command[1])) {
			song_idx = atoi((char*)&command[1]);
		}
		if (song_idx < 0 || song_idx >= NUM_PREDEFINED_SONGS) {
			send_string(":X12\r\n"); // Error: invalid song number
			break;
		}
		// Copiar toda la estructura Song
		memcpy(&current_song, &predefined_songs[song_idx], sizeof(Song));
		// Configurar el timer como en 'B'
		{
			uint32_t note_duration_ms = 60000 / (current_song.bpm * current_song.subdivision);
			uint32_t tick_freq = 1000000;
			uint32_t prescaler = F_CPU / tick_freq - 1;
			uint32_t arr_value = note_duration_ms * 1000;

			htim2.Init.Prescaler = prescaler;
			htim2.Init.Period = arr_value;
			htim2.Init.CounterMode = TIM_COUNTERMODE_UP;
			htim2.Init.ClockDivision = TIM_CLOCKDIVISION_DIV1;
			htim2.Init.AutoReloadPreload = TIM_AUTORELOAD_PRELOAD_DISABLE;
			HAL_TIM_Base_Init(&htim2);
			HAL_TIM_OC_Init(&htim2);
			HAL_TIM_OnePulse_Init(&htim2, TIM_OPMODE_SINGLE);
			__HAL_TIM_CLEAR_IT(&htim2, TIM_IT_UPDATE);
			__HAL_TIM_ENABLE_IT(&htim2, TIM_IT_UPDATE);
		}
		send_string(":C\r\n"); // Song loaded
		break;

	case 'l':  // Set string length and update fret positions. Format: :lXXX
		int new_length = atoi((char *)&command[1]);
		string_length = (float)new_length;
		calculate_fret_positions();
		break;

	case 'R':
		/*
		 * @brief Software reset command handler.
		 *        When the command ':R' is received, the microcontroller will perform a full system reset
		 *        using the NVIC_SystemReset() function from the STM32 HAL.
		 *        This brings all peripherals and variables to their initial state as after a power-on reset.
		 */
		NVIC_SystemReset();
		break;

	default:
		// Ignore unknown command
		break;
	}
}

/* USER CODE END 4 */

void Error_Handler(void)
{
	__disable_irq();
	while (1)
	{
	}
}
